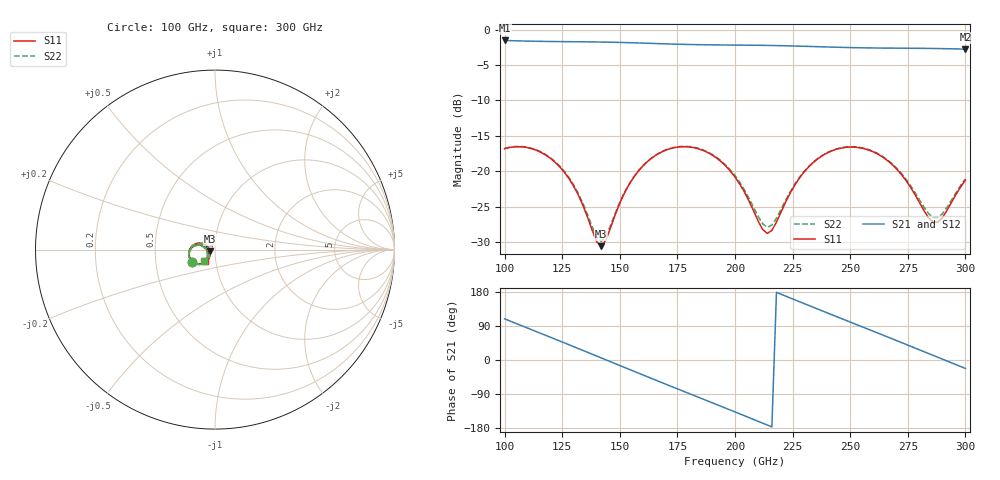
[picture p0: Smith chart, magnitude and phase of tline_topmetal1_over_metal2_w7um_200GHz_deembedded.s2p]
! Created with skrf 2.2.0 (http://scikit-rf.org).
# GHz S DB R 50.0
! Port[1] = P1
! Port[2] = P2
!freq dBS11 angS11 dBS21 angS21 dBS12 angS12 dBS22 angS22
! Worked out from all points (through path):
!   101 points, 100 GHz to 300 GHz, reference 50 ohm
!   highest |S21| = -1.52 dB at 100 GHz (marker M1); lowest = -2.7 dB at 300 GHz (marker M2)
!   group delay of S21, straight-line fit = 6.82 ps
!   lowest |S11| = -30.6 dB at 142 GHz (marker M3), VSWR 1.06, Z = 47.2 - j0.796 ohm
!   |S11| at or under -10 dB: start of sweep to end of sweep
!   |S22| runs from -29.9 to -16.5 dB; largest |S21 - S12| = 9.5e-14
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100  -16.81 -151.8  -1.52 108.6  -1.52 108.6  -16.78 -151.5
108  -16.57 -168.6  -1.59 89.0  -1.59 89.0  -16.52 -167.9
116  -17.37 175.2  -1.64 69.5  -1.64 69.5  -17.30 176.2
126  -20.17 157.9  -1.68 45.0  -1.68 45.0  -20.05 159.4
134  -24.82 153.2  -1.71 25.2  -1.71 25.2  -24.55 155.4
140  -29.98 177.2  -1.73 10.3  -1.73 10.3  -29.31 178.4
142  -30.59 -163.4  -1.74 5.4  -1.74 5.4  -29.90 -164.0
156  -20.87 -126.5  -1.85 -29.4  -1.85 -29.4  -20.82 -127.0
168  -17.30 -145.9  -1.98 -59.0  -1.98 -59.0  -17.27 -145.5
176  -16.56 -161.0  -2.05 -78.5  -2.05 -78.5  -16.51 -160.3
184  -16.82 -176.2  -2.11 -98.0  -2.11 -98.0  -16.75 -175.1
200  -20.82 159.3  -2.17 -137.0  -2.17 -137.0  -20.62 161.5
214  -28.79 -166.0  -2.22 -171.5  -2.22 -171.5  -27.92 -166.2
224  -23.07 -127.5  -2.28 163.7  -2.28 163.7  -22.88 -129.5
234  -18.76 -135.8  -2.38 139.1  -2.38 139.1  -18.70 -136.5
244  -16.89 -152.2  -2.47 114.7  -2.47 114.7  -16.85 -152.1
252  -16.60 -166.4  -2.54 95.2  -2.54 95.2  -16.55 -165.8
268  -19.00 168.2  -2.60 56.4  -2.60 56.4  -18.89 169.7
278  -23.24 163.8  -2.62 31.9  -2.62 31.9  -22.94 166.0
286  -27.20 -169.8  -2.65 12.2  -2.65 12.2  -26.54 -169.1
290  -26.57 -147.2  -2.67 2.4  -2.67 2.4  -26.01 -148.5
300  -21.25 -130.9  -2.74 -22.3  -2.74 -22.3  -21.09 -132.1
